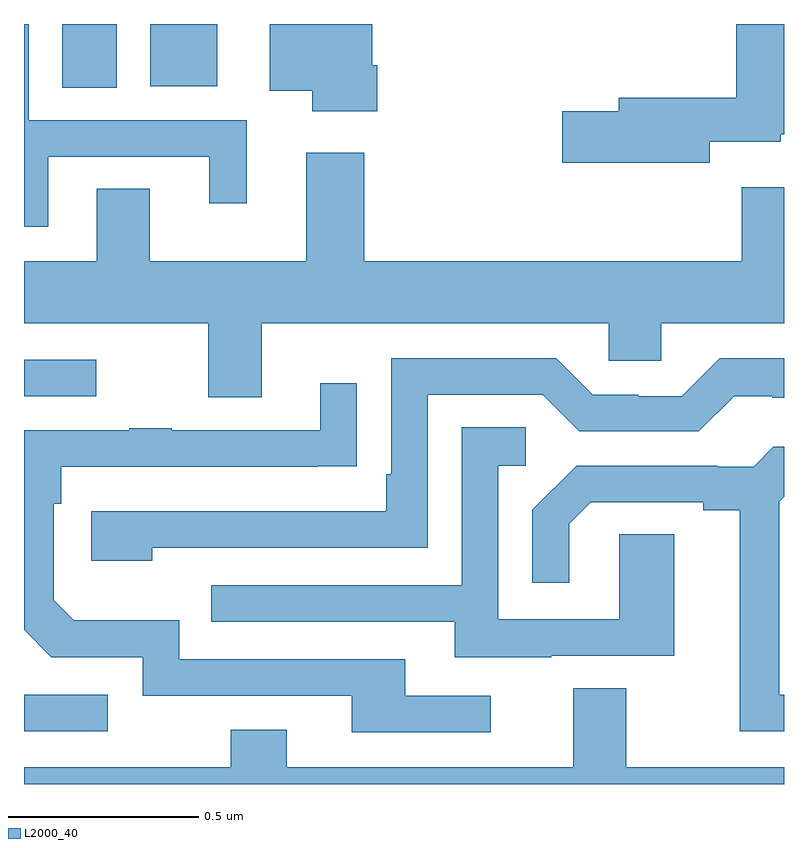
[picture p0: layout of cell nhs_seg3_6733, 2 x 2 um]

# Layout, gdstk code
import gdstk
lib = gdstk.Library(unit=1e-6, precision=1e-09)
def R(c, l, rs):  # rectangles x0, y0, x1, y1
    for r in rs: c.add(gdstk.rectangle(r[:2], r[2:], *l))
def P(c, l, *ps):  # polygons
    for p in ps: c.add(gdstk.Polygon(p, *l))
L2000_40 = (2000, 40)

nhs_seg3_6733 = lib.new_cell('nhs_seg3_6733')
R(nhs_seg3_6733, L2000_40, [(195,670.539,195.22,670.635), (195,671.421,195.19,671.517), (195.101,672.232,195.244,672.4), (195.332,672.236,195.508,672.4)])
P(nhs_seg3_6733, L2000_40, [(195.064,672.051),(195.488,672.051),(195.488,671.928),(195.586,671.928),(195.586,672.147),(195.012,672.147),(195.012,672.4),(195,672.4),(195,671.867),(195.064,671.867)],
  [(196.804,672.09),(196.992,672.09),(196.992,672.11),(197,672.11),(197,672.4),(196.874,672.4),(196.874,672.206),(196.565,672.206),(196.565,672.17),(196.416,672.17),(196.416,672.035),(196.804,672.035)],
  [(195.929,672.292),(195.916,672.292),(195.916,672.4),(195.647,672.4),(195.647,672.224),(195.758,672.224),(195.758,672.17),(195.929,672.17)],
  [(195.625,671.612),(196.539,671.612),(196.539,671.514),(196.677,671.514),(196.677,671.612),(197,671.612),(197,671.971),(196.889,671.971),(196.889,671.776),(195.896,671.776),(195.896,672.061),(195.743,672.061),(195.743,671.776),(195.331,671.776),(195.331,671.966),(195.191,671.966),(195.191,671.776),(195,671.776),(195,671.612),(195.485,671.612),(195.485,671.418),(195.625,671.418)],
  [(195.338,671.022),(196.062,671.022),(196.062,671.424),(196.365,671.424),(196.461,671.328),(196.776,671.328),(196.869,671.421),(196.969,671.421),(196.969,671.417),(197,671.417),(197,671.521),(196.831,671.521),(196.731,671.421),(196.616,671.421),(196.616,671.424),(196.497,671.424),(196.401,671.52),(195.966,671.52),(195.966,671.215),(195.953,671.215),(195.953,671.118),(195.177,671.118),(195.177,670.988),(195.338,670.988)],
  [(196.228,670.632),(196.003,670.632),(196.003,670.728),(195.408,670.728),(195.408,670.831),(195.131,670.831),(195.078,670.884),(195.078,671.138),(195.098,671.138),(195.098,671.235),(195.773,671.235),(195.773,671.236),(195.875,671.236),(195.875,671.455),(195.779,671.455),(195.779,671.331),(195.389,671.331),(195.389,671.336),(195.277,671.336),(195.277,671.331),(195,671.331),(195,670.806),(195.072,670.734),(195.312,670.734),(195.312,670.632),(195.863,670.632),(195.863,670.536),(196.228,670.536)],
  [(196.387,670.737),(196.711,670.737),(196.711,671.057),(196.566,671.057),(196.566,670.833),(196.248,670.833),(196.248,671.238),(196.321,671.238),(196.321,671.339),(196.152,671.339),(196.152,670.923),(195.493,670.923),(195.493,670.827),(196.133,670.827),(196.133,670.733),(196.387,670.733)],
  [(197,670.635),(196.987,670.635),(196.987,671.143),(197,671.156),(197,671.287),(196.972,671.287),(196.92,671.235),(196.826,671.235),(196.826,671.238),(196.454,671.238),(196.338,671.122),(196.338,670.929),(196.435,670.929),(196.435,671.085),(196.492,671.142),(196.787,671.142),(196.787,671.12),(196.883,671.12),(196.883,670.539),(197,670.539)],
  [(197,670.444),(196.585,670.444),(196.585,670.652),(196.445,670.652),(196.445,670.444),(195.691,670.444),(195.691,670.543),(195.544,670.543),(195.544,670.444),(195,670.444),(195,670.4),(197,670.4)])

lib.write_gds('nhs_seg3_6733.gds')
